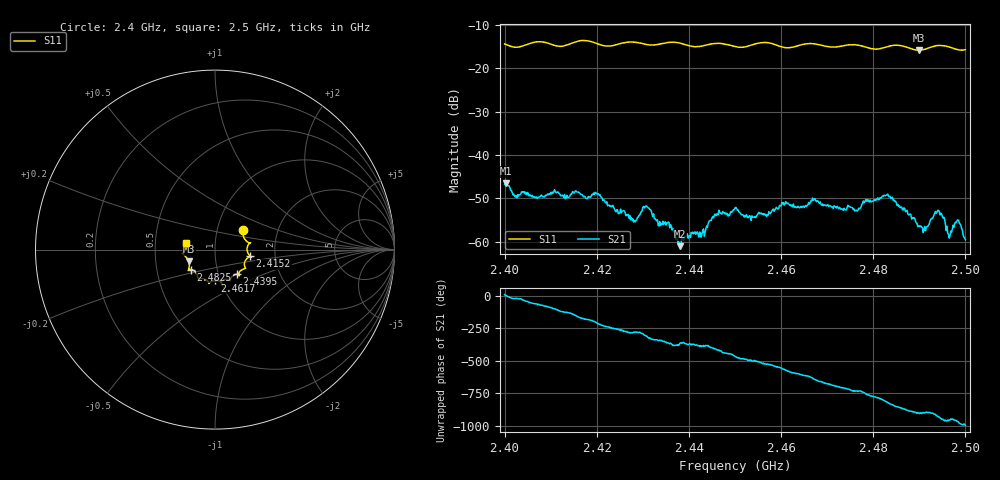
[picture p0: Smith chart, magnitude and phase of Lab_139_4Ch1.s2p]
# Hz S RI R 50
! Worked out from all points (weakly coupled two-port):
!   601 points, 2.4 GHz to 2.5 GHz, reference 50 ohm
!   highest |S21| = -46.56 dB at 2.4003 GHz (marker M1); lowest = -61.0 dB at 2.438 GHz (marker M2)
!   lowest |S11| = -15.9 dB at 2.4898 GHz (marker M3), VSWR 1.38, Z = 36.9 - j4.88 ohm
!   |S11| at or under -10 dB: start of sweep to end of sweep
!   S12 and S22 are empty: the file has one direction only
!   S11 on the Smith chart (normalised r, x): 2.4 GHz: 1.33, +0.30; 2.4152 GHz: 1.48, -0.11; 2.4395 GHz: 1.22, -0.35; 2.4617 GHz: 0.94, -0.33; 2.4825 GHz: 0.75, -0.17; 2.5 GHz: 0.72, +0.05
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2.4e9  0.1552 0.1097  0.00452 0.000754  0 0  0 0
2.400333e9  0.1549 0.1051  0.00469 0.000219  0 0  0 0
2.402667e9  0.1609 0.0664  0.00303 -0.00111  0 0  0 0
2.415167e9  0.1956 -0.0363  -0.00311 -0.00194  0 0  0 0
2.416667e9  0.2036 -0.0417  -0.00349 -0.000356  0 0  0 0
2.428167e9  0.1699 -0.1042  0.000369 0.00172  0 0  0 0
2.431e9  0.1468 -0.1143  0.00179 0.00177  0 0  0 0
2.433333e9  0.133 -0.1331  0.00148 0.000451  0 0  0 0
2.438e9  0.1326 -0.1425  0.000884 -0.000111  0 0  0 0
2.4395e9  0.1225 -0.138  0.00116 -0.000207  0 0  0 0
2.45e9  0.0663 -0.1644  -0.000618 -0.00237  0 0  0 0
2.454e9  0.0349 -0.1841  -0.00152 -0.00117  0 0  0 0
2.461667e9  0.00103 -0.1716  -0.0021 0.00174  0 0  0 0
2.466667e9  -0.0334 -0.1889  -7.37e-05 0.00297  0 0  0 0
2.476167e9  -0.0941 -0.1599  0.00224 -0.000501  0 0  0 0
2.4825e9  -0.1327 -0.1112  0.000119 -0.0034  0 0  0 0
2.483333e9  -0.1401 -0.1104  -0.000838 -0.00321  0 0  0 0
2.489833e9  -0.1473 -0.0645  -0.00154 3.13e-05  0 0  0 0
2.494333e9  -0.1812 -0.0228  -0.0019 0.00117  0 0  0 0
2.496333e9  -0.1757 -0.0155  -0.000631 0.00105  0 0  0 0
2.498333e9  -0.163 0.00665  -0.000763 0.00162  0 0  0 0
2.5e9  -0.1594 0.0353  0.000111 0.00105  0 0  0 0
